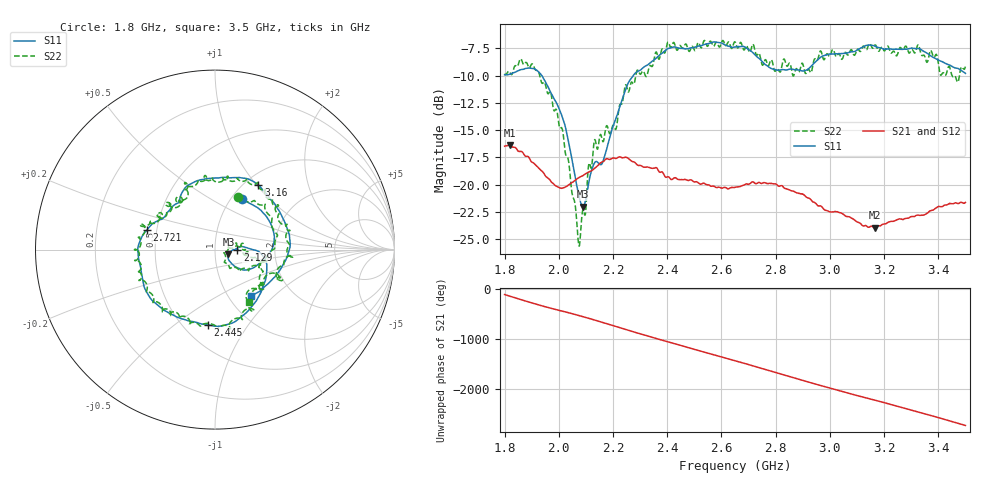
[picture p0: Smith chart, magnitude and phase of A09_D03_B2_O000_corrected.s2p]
! Created with skrf 1.9.0 (http://scikit-rf.org).
# Hz S RI R 50.0
!freq ReS11 ImS11 ReS21 ImS21 ReS12 ImS12 ReS22 ImS22
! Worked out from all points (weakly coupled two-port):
!   1601 points, 1.8 GHz to 3.5 GHz, reference 50 ohm
!   highest |S21| = -16.40 dB at 1.818 GHz (marker M1); lowest = -24.0 dB at 3.165 GHz (marker M2)
!   lowest |S11| = -22.0 dB at 2.09 GHz (marker M3), VSWR 1.17, Z = 58 - j3 ohm
!   |S11| at or under -10 dB: 1.937 GHz to 2.275 GHz (337.6 MHz wide, 16 % of centre)
!   |S22| runs from -25.6 to -6.8 dB; largest |S21 - S12| = 0.0026
!   S11 on the Smith chart (normalised r, x): 1.8 GHz: 1.12, +0.70; 2.129 GHz: 1.28, -0.00; 2.445 GHz: 0.65, -0.67; 2.721 GHz: 0.44, +0.11; 3.16 GHz: 1.15, +1.02; 3.5 GHz: 1.26, -0.72
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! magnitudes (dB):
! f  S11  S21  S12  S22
! 1.8 GHz  -9.9  -16.5  -16.5  -9.8
! 1.818 GHz  -9.9  -16.4  -16.4  -9.7
! 1.903 GHz  -9.3  -18.0  -18.0  -8.9
! 1.968 GHz  -11.4  -19.6  -19.6  -11.5
! 2.015 GHz  -13.9  -20.3  -20.3  -15.1
! 2.072 GHz  -20.8  -19.4  -19.4  -25.3
! 2.084 GHz  -21.8  -19.2  -19.2  -23.2
! 2.09 GHz  -22.0  -19.2  -19.2  -22.3
! 2.129 GHz  -18.1  -18.5  -18.6  -16.2
! 2.163 GHz  -17.8  -17.9  -17.8  -16.1
! 2.261 GHz  -10.5  -17.7  -17.7  -11.2
! 2.367 GHz  -8.2  -18.7  -18.7  -8.5
! 2.445 GHz  -7.5  -19.5  -19.5  -7.3
! 2.65 GHz  -7.4  -20.3  -20.2  -6.9
! 2.721 GHz  -8.1  -19.8  -19.8  -7.4
! 2.802 GHz  -9.5  -20.0  -20.0  -9.5
! 2.934 GHz  -9.1  -21.5  -21.5  -9.5
! 3.16 GHz  -7.3  -23.9  -23.8  -7.5
! 3.165 GHz  -7.3  -24.0  -23.9  -7.2
! 3.217 GHz  -7.6  -23.4  -23.4  -7.5
! 3.468 GHz  -9.3  -21.7  -21.7  -10.5
! 3.5 GHz  -9.8  -21.6  -21.6  -9.2
